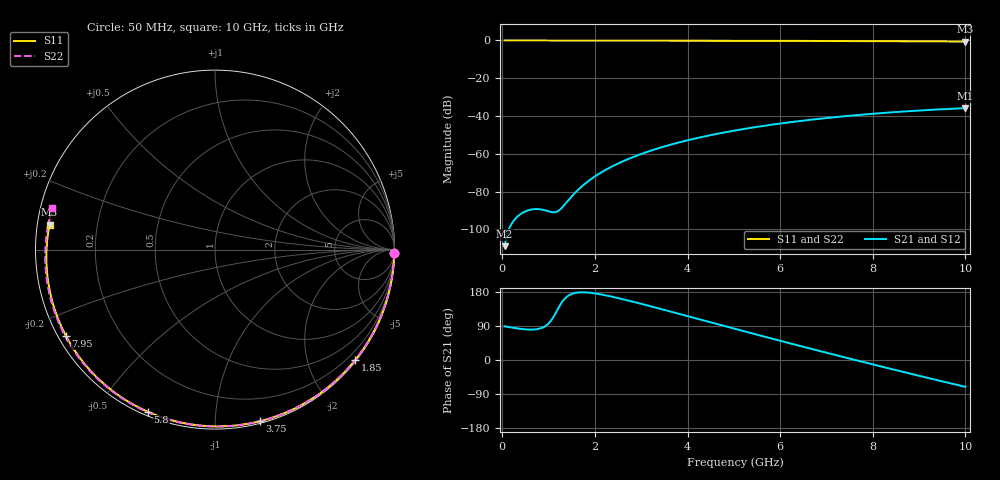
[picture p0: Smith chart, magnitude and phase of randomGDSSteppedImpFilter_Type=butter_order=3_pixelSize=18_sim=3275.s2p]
! freq	dB(S11)	phase(S11)	dB(S12)	phase(S12)
!  dB(S21)	phase(S21)	dB(S22)	phase(S22)
!S-par simulation data
#  GHz  S  DB  R 50
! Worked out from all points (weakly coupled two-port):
!   200 points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, 50 MHz to 10 GHz, reference 50 ohm
!   highest |S21| = -35.87 dB at 10 GHz (marker M1); lowest = -108.9 dB at 50 MHz (marker M2)
!   lowest |S11| = -0.6 dB at 10 GHz (marker M3), VSWR 28.48, Z = 1.77 + j3.73 ohm
!   |S11| at or under -10 dB: nowhere
!   |S22| runs from -0.6 to 0.0 dB; largest |S21 - S12| = 0
!   S11 on the Smith chart (normalised r, x): 50 MHz: open; 1.85 GHz: 0.03, -2.87; 3.75 GHz: 0.02, -1.29; 5.8 GHz: 0.02, -0.67; 7.95 GHz: 0.02, -0.27; 10 GHz: 0.04, +0.07
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0.05  -0.00 -1.0  -108.94 88.9  -108.94 88.9  -0.00 -1.1
0.45  -0.01 -9.5  -91.11 81.4  -91.11 81.4  -0.02 -10.3
0.8  -0.02 -16.8  -89.36 82.6  -89.36 82.6  -0.02 -18.3
1.2  -0.03 -25.1  -90.43 134.6  -90.43 134.6  -0.03 -27.3
1.6  -0.04 -33.3  -79.95 177.6  -79.95 177.6  -0.05 -36.2
1.75  -0.05 -36.3  -76.59 178.7  -76.59 178.7  -0.05 -39.5
1.85  -0.05 -38.4  -74.62 178.0  -74.62 178.0  -0.05 -41.7
2.15  -0.06 -44.4  -69.69 172.6  -69.69 172.6  -0.06 -48.2
2.5  -0.07 -51.3  -65.17 163.4  -65.17 163.4  -0.07 -55.7
2.9  -0.08 -59.2  -61.03 151.4  -61.03 151.4  -0.08 -64.1
3.4  -0.09 -68.8  -56.87 135.4  -56.87 135.4  -0.10 -74.3
3.75  -0.10 -75.4  -54.43 124.0  -54.43 124.0  -0.11 -81.2
4.4  -0.13 -87.4  -50.64 102.7  -50.64 102.7  -0.13 -93.8
5.05  -0.15 -99.2  -47.57 81.4  -47.57 81.4  -0.16 -106.0
5.8  -0.19 -112.4  -44.68 57.1  -44.68 57.1  -0.20 -119.6
6.7  -0.25 -128.1  -41.89 28.6  -41.89 28.6  -0.26 -135.5
7.35  -0.30 -139.4  -40.23 8.3  -40.23 8.3  -0.31 -146.8
7.95  -0.36 -150.0  -38.93 -10.1  -38.93 -10.1  -0.36 -157.2
8.35  -0.40 -157.1  -38.17 -22.3  -38.17 -22.3  -0.40 -164.3
9.2  -0.50 -172.8  -36.82 -47.6  -36.82 -47.6  -0.49 -179.5
9.6  -0.55 179.5  -36.31 -59.3  -36.31 -59.3  -0.53 173.2
10  -0.61 171.5  -35.87 -70.8  -35.87 -70.8  -0.58 165.6
